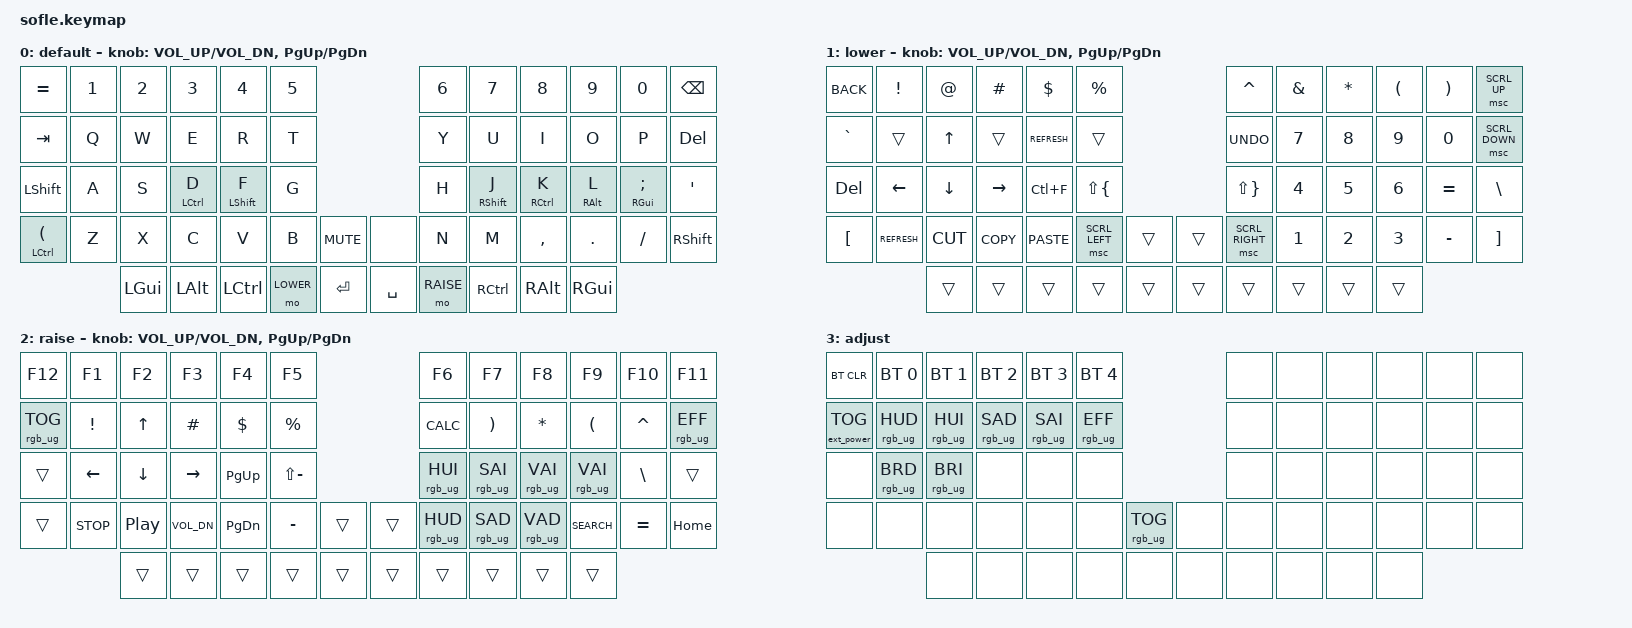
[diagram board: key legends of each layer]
/*
 * Copyright (c) 2020 The ZMK Contributors
 *
 * SPDX-License-Identifier: MIT
 */

#include <behaviors.dtsi>
#include <dt-bindings/zmk/keys.h>
#include <dt-bindings/zmk/bt.h>
#include <dt-bindings/zmk/rgb.h>
#include <dt-bindings/zmk/ext_power.h>

#include <dt-bindings/zmk/pointing.h>

#define BASE 0
#define LOWER 1
#define RAISE 2
#define ADJUST 3

/ {

    // Activate ADJUST layer by pressing raise and lower
    conditional_layers {
        compatible = "zmk,conditional-layers";
        adjust_layer {
            if-layers = <LOWER RAISE>;
            then-layer = <ADJUST>;
        };
    };

    /* Behaviors */
    behaviors {
        msc: mouse_scroll_control {
            compatible = "zmk,behavior-input-two-axis";
            #binding-cells = <1>;
            x-input-code = <INPUT_REL_HWHEEL>;
            y-input-code = <INPUT_REL_WHEEL>;
            time-to-max-speed-ms = <300>;
            acceleration-exponent = <1>;
        };
    };

    keymap {
        compatible = "zmk,keymap";

        default_layer {
            display-name = "default";
// ------------------------------------------------------------------------------------------------------------
// |  =    |  1  |  2  |  3   |  4   |  5   |                   |  6   |  7    |  8    |  9   |   0   | BKSPC |
// |  TAB  |  Q  |  W  |  E   |  R   |  T   |                   |  Y   |  U    |  I    |  O   |   P   |  DEL  |
// | SHIFT |  A  |  S  |  D   |  F   |  G   |                   |  H   |  J    |  K    |  L   |   ;   |   '   |
// | LCPO  |  Z  |  X  |  C   |  V   |  B   |  MUTE  |  |       |  N   |  M    |  ,    |  .   |   /   | SHIFT |
//               | GUI | ALT  | CTRL | LOWER|  ENTER |  | SPACE | RAISE| CTRL  | ALT   | GUI  |
            bindings = <
&kp EQUAL &kp N1 &kp N2   &kp N3   &kp N4    &kp N5                           &kp N6 &kp N7    &kp N8    &kp N9   &kp N0   &kp BSPC
&kp TAB   &kp Q  &kp W    &kp E    &kp R     &kp T                            &kp Y  &kp U     &kp I     &kp O    &kp P    &kp DEL
&kp LSHFT &kp A  &kp S    &mt LCTRL D &mt LSHFT F &kp G                       &kp H  &mt RSHFT J &mt RCTRL K &mt RALT L &mt RGUI SEMI &kp SQT
&mt LCTRL LPAR &kp Z  &kp X    &kp C    &kp V     &kp B      &kp C_MUTE &none      &kp N  &kp M     &kp COMMA &kp DOT  &kp FSLH &kp RSHFT
                 &kp LGUI &kp LALT &kp LCTRL &mo LOWER  &kp RET    &kp SPACE  &mo RAISE  &kp RCTRL &kp RALT  &kp RGUI
            >;

            sensor-bindings = <&inc_dec_kp C_VOL_UP C_VOL_DN &inc_dec_kp PG_UP PG_DN>;
        };

        lower_layer {
            display-name = "lower";
// ------------------------------------------------------------------------------------------------------------
// | BACK  |  !  |  @  |  #   |  $   |  %   |                   |  ^   |  &    |  *    |  (   |   )   | SCRL_U|
// | GRAVE |     | UP  |      | RFRSH|      |                   | UNDO |  7    |  8    |  9   |   0   | SCRL_D|
// | DEL   | LEFT| DOWN| RIGHT| FIND |  {   |                   |  }   |  4    |  5    |  6   |   =   |   \   |
// |   [   | RFRSH| CUT| COPY | PASTE| SCRL_L|      |  |       | SCRL_R|  1    |  2    |  3   |   -   |   ]   |
//               |     |      |      |      |        |  |       |      |       |       |      |
            bindings = <
&kp K_BACK    &kp EXCL  &kp AT    &kp HASH  &kp DLLR      &kp PRCNT                 &kp CARET &kp AMPS  &kp ASTRK &kp LPAR  &kp RPAR  &msc SCRL_UP
&kp GRAVE     &trans    &kp UP    &trans    &kp K_REFRESH &trans                    &kp K_UNDO &kp N7    &kp N8    &kp N9    &kp N0    &msc SCRL_DOWN
&kp DEL       &kp LEFT  &kp DOWN  &kp RIGHT &kp LC(F)     &kp LS(LBRC)              &kp LS(RBRC) &kp N4  &kp N5    &kp N6    &kp EQUAL &kp BSLH
&kp LBKT      &kp K_REFRESH &kp K_CUT &kp K_COPY &kp K_PASTE &msc SCRL_LEFT &trans &trans &msc SCRL_RIGHT &kp N1 &kp N2 &kp N3 &kp MINUS &kp RBKT
                        &trans    &trans    &trans        &trans        &trans &trans &trans   &trans    &trans    &trans
            >;

            sensor-bindings = <&inc_dec_kp C_VOL_UP C_VOL_DN &inc_dec_kp PG_UP PG_DN>;
        };

        raise_layer {
            display-name = "raise";
// ------------------------------------------------------------------------------------------------------------
// |  F12  |  F1 |  F2 |  F3  |  F4  |  F5  |                   |  F6  |  F7   |  F8   |  F9  |  F10  |  F11  |
// | RGB_T |  !  | UP  |  #   |  $   |  %   |                   | CALC |  )    |  *    |  (   |   ^   | RGB_M |
// |       | LEFT| DOWN| RIGHT| PGUP |  _   |                   | RGB_H| RGB_S | RGB_V | RGB_V|   \   |       |
// | MACRO | MSTP| MPLY| VOLD | PGDN |  -   |      |  |       | RGB_H| RGB_S | RGB_V | SEARCH|   =   | HOME  |
//               |     |      |      |      |      |  |      |      |       |       |      |
            bindings = <
&kp F12        &kp F1    &kp F2    &kp F3    &kp F4    &kp F5                        &kp F6    &kp F7    &kp F8    &kp F9    &kp F10   &kp F11
&rgb_ug RGB_TOG &kp EXCL  &kp UP    &kp HASH  &kp DLLR  &kp PRCNT                     &kp K_CALC &kp RPAR &kp ASTRK &kp LPAR &kp CARET &rgb_ug RGB_EFF
&trans         &kp LEFT  &kp DOWN  &kp RIGHT &kp PG_UP &kp LS(MINUS)                 &rgb_ug RGB_HUI &rgb_ug RGB_SAI &rgb_ug RGB_VAI &rgb_ug RGB_VAI &kp BSLH &trans
&trans         &kp C_STOP &kp C_PP &kp C_VOL_DN &kp PG_DN &kp MINUS  &trans &trans   &rgb_ug RGB_HUD &rgb_ug RGB_SAD &rgb_ug RGB_VAD &kp K_SEARCH &kp EQUAL &kp HOME
                         &trans    &trans    &trans    &trans    &trans       &trans &trans    &trans    &trans    &trans
            >;

            sensor-bindings = <&inc_dec_kp C_VOL_UP C_VOL_DN &inc_dec_kp PG_UP PG_DN>;
        };

        adjust_layer {
// ----------------------------------------------------------------------------------------------------------------------------
// | BTCLR  |  BT1    |  BT2    |   BT3   |   BT4   |   BT5   |                  |      |      |       |      |       |       |
// | EXTPWR | RGB_HUD | RGB_HUI | RGB_SAD | RGB_SAI | RGB_EFF |                  |      |      |       |      |       |       |
// |        | RGB_BRD | RGB_BRI |         |         |         |                  |      |      |       |      |       |       |
// |        |         |         |         |         |         | RGB_TOG | |      |      |      |       |      |       |       |
//                    |         |         |         |         |         | |      |      |      |       |      |
            display-name = "adjust";
            bindings = <
&bt BT_CLR        &bt BT_SEL 0    &bt BT_SEL 1    &bt BT_SEL 2    &bt BT_SEL 3    &bt BT_SEL 4                            &none &none &none &none &none &none
&ext_power EP_TOG &rgb_ug RGB_HUD &rgb_ug RGB_HUI &rgb_ug RGB_SAD &rgb_ug RGB_SAI &rgb_ug RGB_EFF                         &none &none &none &none &none &none
&none             &rgb_ug RGB_BRD &rgb_ug RGB_BRI &none           &none           &none                                   &none &none &none &none &none &none
&none             &none           &none           &none           &none           &none            &rgb_ug RGB_TOG &none  &none &none &none &none &none &none
                                  &none           &none           &none           &none            &none           &none  &none &none &none &none
            >;
        };

    };
};
